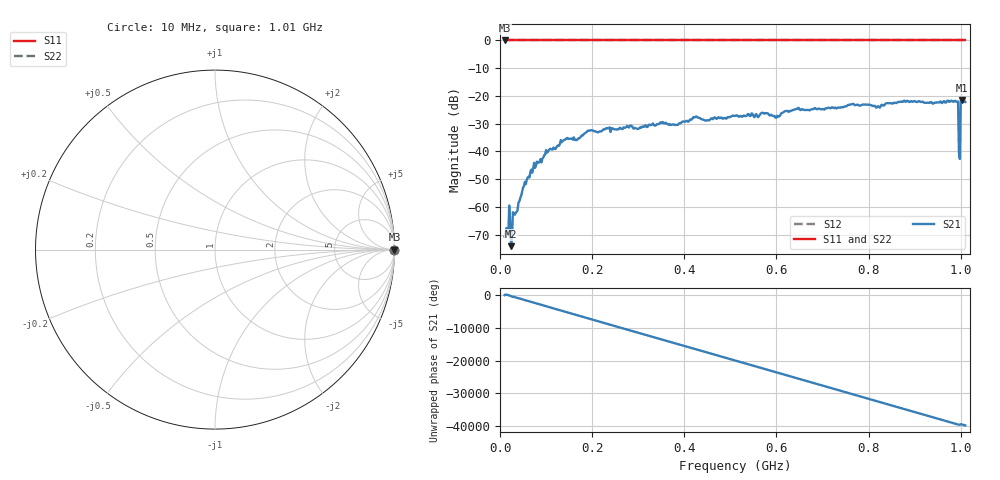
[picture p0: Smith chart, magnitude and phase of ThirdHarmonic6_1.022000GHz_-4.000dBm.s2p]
! 8/16/2025 8:35:01 AM
! C:\ANRITSUVNA\TEMP\TEMP.S2P
! CHANNEL.1
! TR.MEASUREMENT
! RAW.DATA
! RF.CORRECTION.OFF
! AVERAGING.OFF
! IF.BANDWIDTH: 5KHZ
! SWEEPTYPE:  FREQ.SWEEP(Linear)
! Reference Plane Port Info
! PORT:  PORT1  PORT2
! DISTANCE:  0  m  0  m
! TIME:  0  s  0  s
! PHASE.OFFSET:  0  deg.  0  deg.
! LOSS:  0  dB  0  dB
! REF.LOSS:  0  dB  0  dB
! REF.FREQ:  0  Hz  0  Hz
! Power Info
! POWER:  -20  dBm  -20  dBm
! EFF.POWER:  -20  dBm  -20  dBm
! SOURCE.ATTEN:  0  dB  0  dB
! TEST.ATTEN:  0  dB  0  dB
# GHZ S RI R 50.0
! FREQ.GHZ  S11RE  S11IM  S21RE  S21IM  S12RE  S12IM  S22RE  S22IM
!; PortSelection: Port_12
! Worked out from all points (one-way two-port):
!   501 points, 10 MHz to 1.01 GHz, reference 50 ohm
!   highest |S21| = -21.50 dB at 1.002 GHz (marker M1); lowest = -74.2 dB at 24 MHz (marker M2)
!   lowest |S11| = 0.0 dB at 10 MHz (marker M3)
!   |S11| at or under -10 dB: nowhere
!   |S22| runs from 0.0 to 0.0 dB; largest |S21 - S12| = 1.1
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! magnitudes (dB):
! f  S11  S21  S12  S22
! 10 MHz  0.0  -70.7  0.0  0.0
! 18 MHz  0.0  -70.3  0.0  0.0
! 22 MHz  0.0  -65.8  0.0  0.0
! 24 MHz  0.0  -74.2  0.0  0.0
! 28 MHz  0.0  -61.9  0.0  0.0
! 32 MHz  0.0  -62.8  0.0  0.0
! 54 MHz  0.0  -51.0  0.0  0.0
! 78 MHz  0.0  -45.2  0.0  0.0
! 136 MHz  0.0  -36.3  0.0  0.0
! 178 MHz  0.0  -34.2  0.0  0.0
! 194 MHz  0.0  -32.6  0.0  0.0
! 344 MHz  0.0  -30.2  0.0  0.0
! 510 MHz  0.0  -27.2  0.0  0.0
! 602 MHz  0.0  -27.1  0.0  0.0
! 678 MHz  0.0  -24.8  0.0  0.0
! 844 MHz  0.0  -22.6  0.0  0.0
! 990 MHz  0.0  -22.0  0.0  0.0
! 994 MHz  0.0  -22.0  0.0  0.0
! 1 GHz  0.0  -21.6  0.0  0.0
! 1.002 GHz  0.0  -21.5  0.0  0.0
! 1.004 GHz  0.0  -21.9  0.0  0.0
! 1.01 GHz  0.0  -22.2  0.0  0.0
